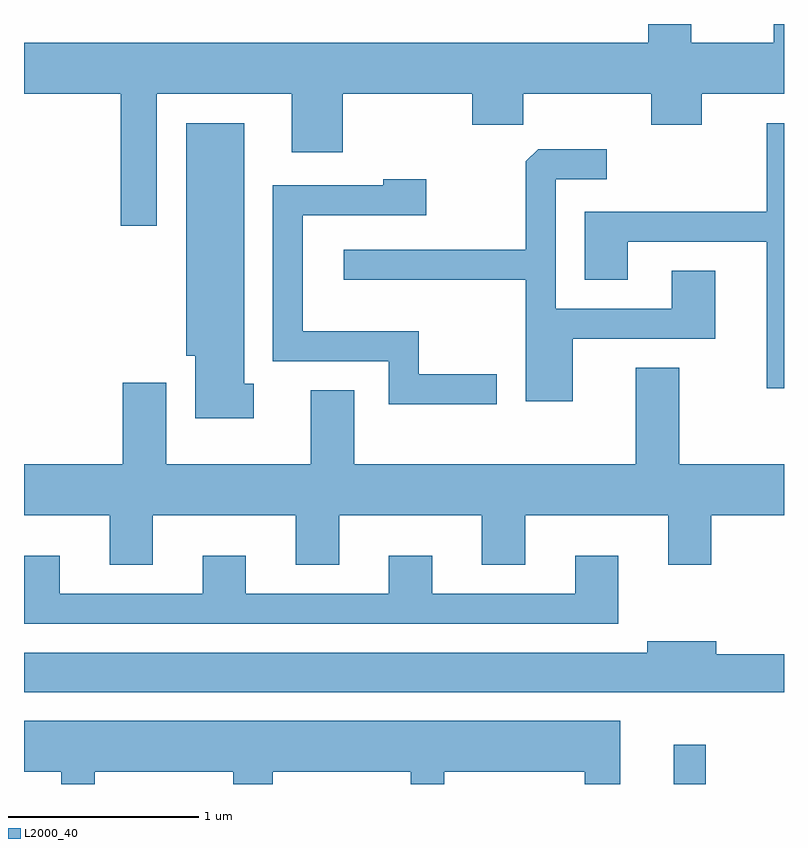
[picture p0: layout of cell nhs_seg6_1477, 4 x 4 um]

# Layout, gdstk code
import gdstk
lib = gdstk.Library(unit=1e-6, precision=1e-09)
def R(c, l, rs):  # rectangles x0, y0, x1, y1
    for r in rs: c.add(gdstk.rectangle(r[:2], r[2:], *l))
def P(c, l, *ps):  # polygons
    for p in ps: c.add(gdstk.Polygon(p, *l))
L2000_40 = (2000, 40)

nhs_seg6_1477 = lib.new_cell('nhs_seg6_1477')
R(nhs_seg6_1477, L2000_40, [(233.031,1564.162,233.199,1564.368)])
P(nhs_seg6_1477, L2000_40, [(230.309,1567.796),(231.021,1567.796),(231.021,1567.486),(231.289,1567.486),(231.289,1567.796),(231.971,1567.796),(231.971,1567.631),(232.239,1567.631),(232.239,1567.796),(232.911,1567.796),(232.911,1567.631),(233.179,1567.631),(233.179,1567.796),(233.611,1567.796),(233.611,1568.162),(233.556,1568.162),(233.556,1568.064),(233.124,1568.064),(233.124,1568.162),(232.896,1568.162),(232.896,1568.064),(229.611,1568.064),(229.611,1567.796),(230.121,1567.796),(230.121,1567.101),(230.309,1567.101)],
  [(230.819,1566.269),(230.769,1566.269),(230.769,1567.639),(230.466,1567.639),(230.466,1566.416),(230.511,1566.416),(230.511,1566.086),(230.819,1566.086)],
  [(233.611,1567.639),(233.521,1567.639),(233.521,1567.174),(232.561,1567.174),(232.561,1566.816),(232.789,1566.816),(232.789,1567.016),(233.521,1567.016),(233.521,1566.246),(233.611,1566.246)],
  [(232.499,1566.506),(233.249,1566.506),(233.249,1566.864),(233.021,1566.864),(233.021,1566.664),(232.409,1566.664),(232.409,1567.346),(232.678,1567.346),(232.678,1567.504),(232.317,1567.504),(232.251,1567.439),(232.251,1566.974),(231.293,1566.974),(231.293,1566.816),(232.251,1566.816),(232.251,1566.176),(232.499,1566.176)],
  [(232.098,1566.319),(231.689,1566.319),(231.689,1566.544),(231.079,1566.544),(231.079,1567.156),(231.729,1567.156),(231.729,1567.344),(231.501,1567.344),(231.501,1567.314),(230.921,1567.314),(230.921,1566.386),(231.531,1566.386),(231.531,1566.161),(232.098,1566.161)],
  [(230.289,1565.576),(231.041,1565.576),(231.041,1565.316),(231.269,1565.316),(231.269,1565.576),(232.021,1565.576),(232.021,1565.316),(232.249,1565.316),(232.249,1565.576),(233.001,1565.576),(233.001,1565.316),(233.229,1565.316),(233.229,1565.576),(233.611,1565.576),(233.611,1565.844),(233.059,1565.844),(233.059,1566.354),(232.831,1566.354),(232.831,1565.844),(231.349,1565.844),(231.349,1566.234),(231.121,1566.234),(231.121,1565.844),(230.359,1565.844),(230.359,1566.274),(230.131,1566.274),(230.131,1565.844),(229.611,1565.844),(229.611,1565.576),(230.061,1565.576),(230.061,1565.316),(230.289,1565.316)],
  [(232.739,1565.364),(232.511,1565.364),(232.511,1565.164),(231.759,1565.164),(231.759,1565.364),(231.531,1565.364),(231.531,1565.164),(230.779,1565.164),(230.779,1565.364),(230.551,1565.364),(230.551,1565.164),(229.799,1565.164),(229.799,1565.364),(229.611,1565.364),(229.611,1565.006),(232.739,1565.006)],
  [(233.611,1564.844),(233.254,1564.844),(233.254,1564.914),(232.891,1564.914),(232.891,1564.854),(229.611,1564.854),(229.611,1564.646),(233.611,1564.646)],
  [(229.984,1564.226),(230.711,1564.226),(230.711,1564.162),(230.919,1564.162),(230.919,1564.226),(231.646,1564.226),(231.646,1564.162),(231.824,1564.162),(231.824,1564.226),(232.561,1564.226),(232.561,1564.162),(232.749,1564.162),(232.749,1564.494),(229.611,1564.494),(229.611,1564.226),(229.806,1564.226),(229.806,1564.162),(229.984,1564.162)])

lib.write_gds('nhs_seg6_1477.gds')
